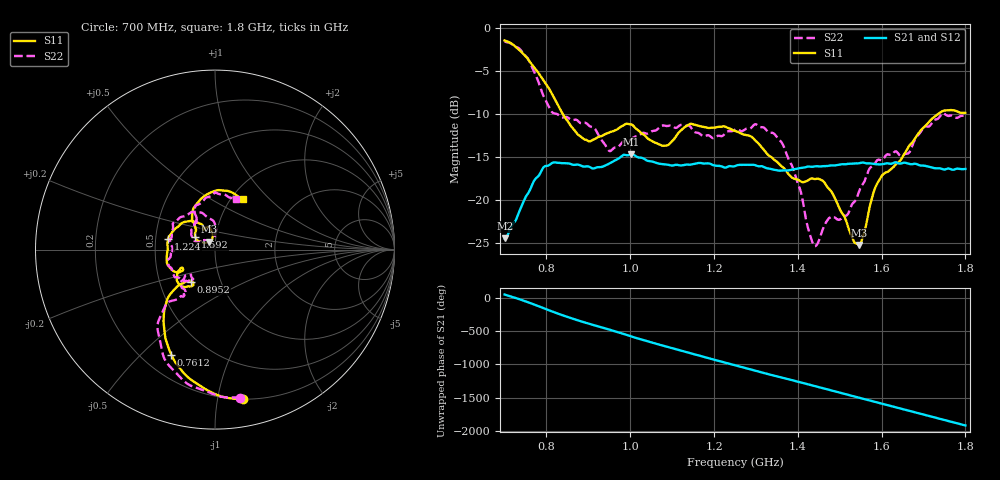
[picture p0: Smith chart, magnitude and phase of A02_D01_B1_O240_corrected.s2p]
! Created with skrf 1.9.0 (http://scikit-rf.org).
# Hz S RI R 50.0
!freq ReS11 ImS11 ReS21 ImS21 ReS12 ImS12 ReS22 ImS22
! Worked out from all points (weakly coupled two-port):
!   1601 points, 700 MHz to 1.8 GHz, reference 50 ohm
!   highest |S21| = -14.65 dB at 1.002 GHz (marker M1); lowest = -24.4 dB at 701.4 MHz (marker M2)
!   lowest |S11| = -25.2 dB at 1.547 GHz (marker M3), VSWR 1.12, Z = 46.7 + j4.18 ohm
!   |S11| at or under -10 dB: 839.1 MHz to 1.734 GHz (894.7 MHz wide, 69.6 % of centre)
!   |S22| runs from -25.3 to -1.5 dB; largest |S21 - S12| = 0.0038
!   S11 on the Smith chart (normalised r, x): 700 MHz: 0.20, -1.19; 761.2 MHz: 0.32, -0.62; 895.2 MHz: 0.72, -0.27; 1.224 GHz: 0.58, +0.08; 1.592 GHz: 0.80, +0.11; 1.8 GHz: 1.13, +0.71
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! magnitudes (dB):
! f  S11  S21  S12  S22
! 700 MHz  -1.4  -24.4  -24.2  -1.5
! 701.4 MHz  -1.5  -24.4  -24.1  -1.6
! 761.2 MHz  -4.0  -18.7  -18.6  -4.1
! 812.8 MHz  -7.6  -15.7  -15.7  -9.7
! 883.6 MHz  -12.7  -16.0  -15.9  -11.1
! 895.2 MHz  -13.0  -16.1  -16.2  -11.1
! 950.2 MHz  -12.1  -15.7  -15.7  -14.3
! 1.002 GHz  -11.2  -14.7  -14.8  -12.9
! 1.067 GHz  -13.5  -15.7  -15.7  -11.7
! 1.224 GHz  -11.4  -16.2  -16.2  -12.4
! 1.25 GHz  -11.9  -16.0  -16.0  -11.8
! 1.361 GHz  -16.0  -16.6  -16.6  -13.2
! 1.405 GHz  -17.7  -16.3  -16.3  -18.6
! 1.434 GHz  -17.5  -16.1  -16.1  -24.7
! 1.479 GHz  -18.9  -16.0  -16.0  -22.0
! 1.517 GHz  -22.6  -15.8  -15.8  -21.8
! 1.547 GHz  -25.2  -15.7  -15.7  -18.9
! 1.592 GHz  -17.8  -15.8  -15.8  -15.3
! 1.617 GHz  -16.6  -15.7  -15.7  -14.7
! 1.663 GHz  -13.9  -15.7  -15.7  -14.6
! 1.731 GHz  -10.1  -16.3  -16.3  -10.6
! 1.8 GHz  -9.9  -16.4  -16.4  -10.3
